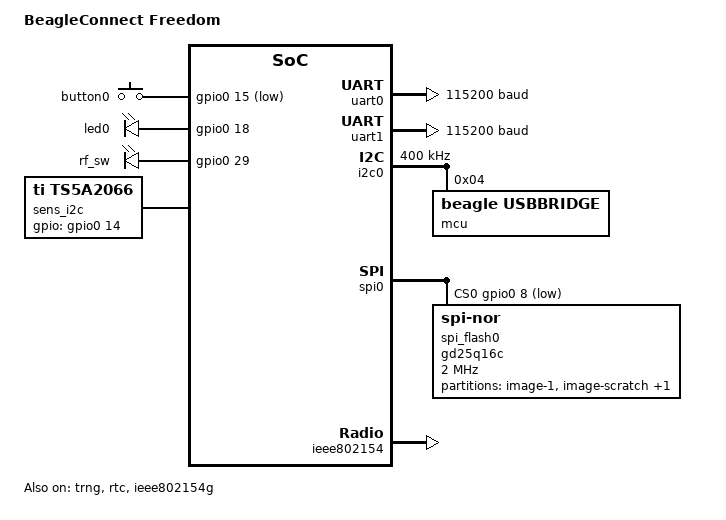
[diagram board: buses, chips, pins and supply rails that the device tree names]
/*
 * Copyright (c) 2020 Erik Larson
 * Copyright (c) 2020-2022 Jason Kridner, BeagleBoard.org Foundation
 *
 * SPDX-License-Identifier: Apache-2.0
 */

/dts-v1/;

#include <ti/cc1352r7.dtsi>
#include "beagleconnect_freedom-pinctrl.dtsi"

#define BTN_GPIO_FLAGS (GPIO_ACTIVE_LOW | GPIO_PULL_UP)

/ {
	model = "BeagleConnect Freedom";
	compatible = "beagle,beagleconnect-freedom";

	aliases {
		led0 = &led0;
		sw0 = &button0;
		mcuboot-button0 = &button0;
		sensor0 = &light;
		sensor1 = &humidity;
		spi-flash0 = &spi_flash0;
	};

	chosen {
		zephyr,sram = &sram0;
		zephyr,console = &uart0;
		zephyr,shell-uart = &uart0;
		zephyr,flash = &flash0;
		zephyr,ieee802154 = &ieee802154g;
		zephyr,code-partition = &slot0_partition;
	};

	gpio_keys {
		compatible = "gpio-keys";
		button0: button_0 {
			gpios = <&gpio0 15 GPIO_ACTIVE_LOW>;
		};
	};

	leds: leds {
		compatible = "gpio-leds";
		led0: led_0 {
			gpios = <&gpio0 18 GPIO_ACTIVE_HIGH>; // 2.4GHz TX/RX
		};

		/* U.FL connector switch */
		rf_sw: rf_sw {
			gpios =
				<&gpio0 29 GPIO_ACTIVE_HIGH>, // SubG TX +20dB
				<&gpio0 30 GPIO_ACTIVE_HIGH>; // SubG TX/RX 0dB
		};
	};

	sens_i2c: sensor-switch {
		status = "okay";
		compatible = "ti,ts5a2066";
		#address-cells = <1>;
		#size-cells = <0>;
		controller = <&i2c0>;
		gpios = <&gpio0 14 GPIO_ACTIVE_HIGH>;

		light: opt3001-light@44 {
			status = "okay";
			compatible = "ti,opt3001";
			reg = <0x44>;
		};

		humidity: hdc2010-humidity@41 {
			status = "okay";
			compatible = "ti,hdc2010";
			reg = <0x41>;
		};
	};

	power-states {
		idle: idle {
			compatible = "zephyr,power-state";
			power-state-name = "suspend-to-idle";
			min-residency-us = <1000>;
		};

		standby: standby {
			compatible = "zephyr,power-state";
			power-state-name = "standby";
			min-residency-us = <5000>;
			exit-latency-us = <240>;
		};
	};
};

&flash0 {
	partitions {
		compatible = "fixed-partitions";
		#address-cells = <1>;
		#size-cells = <1>;

		/* Allocate 128 KiB for mcuboot */
		boot_partition: partition@0 {
			label = "mcuboot";
			reg = <0x00000000 0x00020000>;
		};

		/* Allocate 568 KiB for application (avoid touching CCFG) */
		slot0_partition: partition@20000 {
			label = "image-0";
			reg = <0x00020000 0x0008e000>;
		};
	};
};

&cpu0 {
	clock-frequency = <48000000>;
	cpu-power-states = <&idle &standby>;
};

&trng {
	status = "okay";
};

&gpio0 {
	status = "okay";
};

/* Side away from battery connector (with MSP430) */
&uart0 {
	status = "okay";
	current-speed = <115200>;
	pinctrl-0 = <&uart0_rx_default &uart0_tx_default>;
	pinctrl-names = "default";
};

/* Side with battery connector (with CC1352 and not MSP430) */
&uart1 {
	status = "okay";
	current-speed = <115200>;
	pinctrl-0 = <&uart1_rx_default &uart1_tx_default>;
	pinctrl-names = "default";
};

&i2c0 {
	status = "okay";
	clock-frequency = <I2C_BITRATE_FAST>;
	pinctrl-0 = <&i2c0_scl_default &i2c0_sda_default>;
	pinctrl-1 = <&i2c0_scl_sleep &i2c0_sda_sleep>;
	pinctrl-names = "default", "sleep";

	mcu: msp430-usbbridge@4 {
		compatible = "beagle,usbbridge";
		reg = <0x4>;
	};
};

&spi0 {
	status = "okay";
	pinctrl-0 = <&spi0_sck_default &spi0_mosi_default
		&spi0_miso_default &spi0_cs0_default
		&spi0_cs1_default &spi0_cs2_default>;
	pinctrl-names = "default";
	cs-gpios = <&gpio0 8 GPIO_ACTIVE_LOW>, // SPI flash
		<&gpio0 28 GPIO_ACTIVE_LOW>,  // mikroBUS port 1
		<&gpio0 27 GPIO_ACTIVE_LOW>;  // mikroBUS port 2

	spi_flash0: gd25q16c@0 {
		compatible = "jedec,spi-nor";
		reg = <0>;
		spi-max-frequency = <2000000>;
		size = <0x200000>;
		//has-be32k;
		has-dpd;
		t-enter-dpd = <20000>;
		t-exit-dpd = <100000>;
		jedec-id = [c8 40 15];

		partitions {
			compatible = "fixed-partitions";
			#address-cells = <1>;
			#size-cells = <1>;

			/* Allocate 568 KiB for application */
			slot1_partition: partition@0 {
				label = "image-1";
				reg = <0x00000000 0x0008e000>;
			};

			/* Allocate 128 KiB scratch for image swap */
			scratch_partition: partition@8e000 {
				label = "image-scratch";
				reg = <0x0008e000 0x00020000>;
			};

			/* Allocate 1 MiB storage partition */
			storage_partition: partition@ae000 {
				label = "storage";
				reg = <0x000ae000 DT_SIZE_K(1024)>;
			};
		};
	};
};

&rtc {
	status = "okay";
};

&ieee802154 {
	status = "okay";
};

&ieee802154g {
	status = "okay";
};
